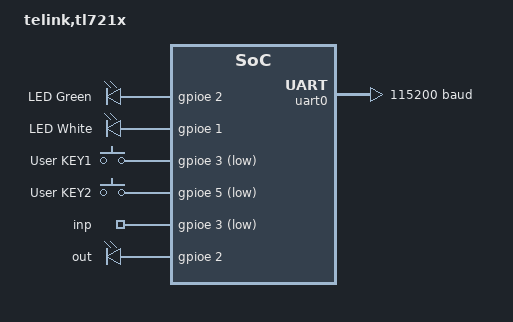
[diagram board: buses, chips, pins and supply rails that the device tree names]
/*
 * Copyright (c) 2024 Telink Semiconductor
 *
 * SPDX-License-Identifier: Apache-2.0
 */

#include "tl7218x-common.dtsi"

/ {
	model = "telink,tl721x";
	compatible = "telink,tl7218x";

	chosen {
		zephyr,console = &uart0;
	};

	aliases {
		/delete-property/ mcuboot-button0;
	};

	leds {
		compatible = "gpio-leds";

		led_green: led_1 {
			gpios = <&gpioe 2 GPIO_ACTIVE_HIGH>;
			label = "LED Green";
		};

		led_white: led_2 {
			gpios = <&gpioe 1 GPIO_ACTIVE_HIGH>;
			label = "LED White";
		};
	};

	keys {
		compatible = "gpio-keys";

		key_1: button_1 {
			label = "User KEY1";
			gpios = <&gpioe 3 (GPIO_ACTIVE_LOW | GPIO_PULL_UP)>;
		};

		key_2: button_2 {
			label = "User KEY2";
			gpios = <&gpioe 5 (GPIO_ACTIVE_LOW | GPIO_PULL_UP)>;
		};
	};

	/* Short TL_Key3 (J6 pin 31) to ground */
	key_pool {
		compatible = "gpio-keys";

		inp {
			gpios = <&gpioe 3 (GPIO_ACTIVE_LOW | GPIO_PULL_UP)>,
				<&gpioe 5 (GPIO_ACTIVE_LOW | GPIO_PULL_UP)>;
		};
	};

	led_pool {
		compatible = "gpio-leds";

		out {
			gpios = <&gpioe 2 GPIO_ACTIVE_HIGH>,
					<&gpioe 1 GPIO_ACTIVE_HIGH>;
		};
	};

	/delete-node/ pwm_pool;

};


&gpioe {
	interrupts = <27 1>;
	status = "okay";
};

&uart0 {
	status = "okay";
	current-speed = <115200>;
	pinctrl-0 = <&uart0_tx_pb6_default &uart0_rx_pb7_default>;
	pinctrl-names = "default";
};

/* Disable LSPI in overlay */
&lspi {
	status = "disabled";
};

&pinctrl {
	/* Set pad-mul-sel register value.
	 * Note: Pins functions below (pinmux = <...>) depend on this value.
	 */
	pad-mul-sel = <1>;

	/* UART0: TX(PB6), RX(PB7) */

	uart0_tx_pb6_default: uart0_tx_pb6_default {
		pinmux = <TLX_PINMUX_SET(TLX_PORT_B, TLX_PIN_6,
			(TL721X_FUNC_UART0_TX | TL721X_PULL_UP))>;
	};
	uart0_rx_pb7_default: uart0_rx_pb7_default {
		pinmux = <TLX_PINMUX_SET(TLX_PORT_B, TLX_PIN_7,
			(TL721X_FUNC_UART0_RTX_IO | TL721X_PULL_UP))>;
	};
};
